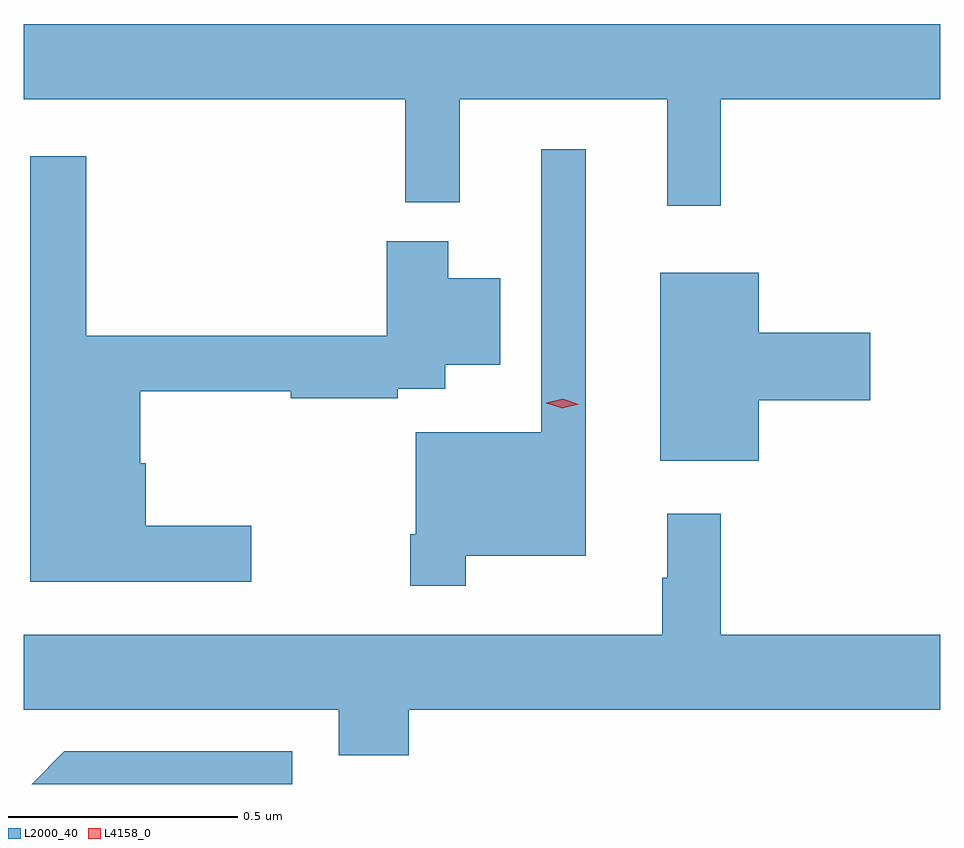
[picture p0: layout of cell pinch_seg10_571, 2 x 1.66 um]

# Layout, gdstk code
import gdstk
lib = gdstk.Library(unit=1e-6, precision=1e-09)
def P(c, l, *ps):  # polygons
    for p in ps: c.add(gdstk.Polygon(p, *l))
L2000_40 = (2000, 40)
L4158_0 = (4158, 0)

pinch_seg10_571 = lib.new_cell('pinch_seg10_571')
P(pinch_seg10_571, L2000_40, [(384.965,1264.352),(385.444,1264.352),(385.444,1264.516),(383.444,1264.516),(383.444,1264.352),(384.277,1264.352),(384.277,1264.127),(384.395,1264.127),(384.395,1264.352),(384.848,1264.352),(384.848,1264.119),(384.965,1264.119)],
  [(384.409,1263.356),(384.67,1263.356),(384.67,1264.243),(384.573,1264.243),(384.573,1263.625),(384.3,1263.625),(384.3,1263.403),(384.288,1263.403),(384.288,1263.291),(384.409,1263.291)],
  [(383.941,1263.421),(383.71,1263.421),(383.71,1263.558),(383.698,1263.558),(383.698,1263.715),(384.027,1263.715),(384.027,1263.7),(384.26,1263.7),(384.26,1263.72),(384.364,1263.72),(384.364,1263.773),(384.484,1263.773),(384.484,1263.961),(384.37,1263.961),(384.37,1264.042),(384.236,1264.042),(384.236,1263.836),(383.581,1263.836),(383.581,1264.228),(383.459,1264.228),(383.459,1263.299),(383.941,1263.299)],
  [(385.048,1263.695),(385.291,1263.695),(385.291,1263.842),(385.048,1263.842),(385.048,1263.973),(384.833,1263.973),(384.833,1263.563),(385.048,1263.563)],
  [(384.284,1263.02),(385.444,1263.02),(385.444,1263.184),(384.965,1263.184),(384.965,1263.448),(384.848,1263.448),(384.848,1263.308),(384.837,1263.308),(384.837,1263.184),(383.444,1263.184),(383.444,1263.02),(384.131,1263.02),(384.131,1262.921),(384.284,1262.921)],
  [(384.03,1262.929),(383.533,1262.929),(383.462,1262.858),(384.03,1262.858)])
P(pinch_seg10_571, L4158_0, [(384.619,1263.678),(384.584,1263.689),(384.584,1263.689),(384.584,1263.69),(384.62,1263.698),(384.655,1263.686),(384.655,1263.686),(384.655,1263.686)])

lib.write_gds('pinch_seg10_571.gds')
